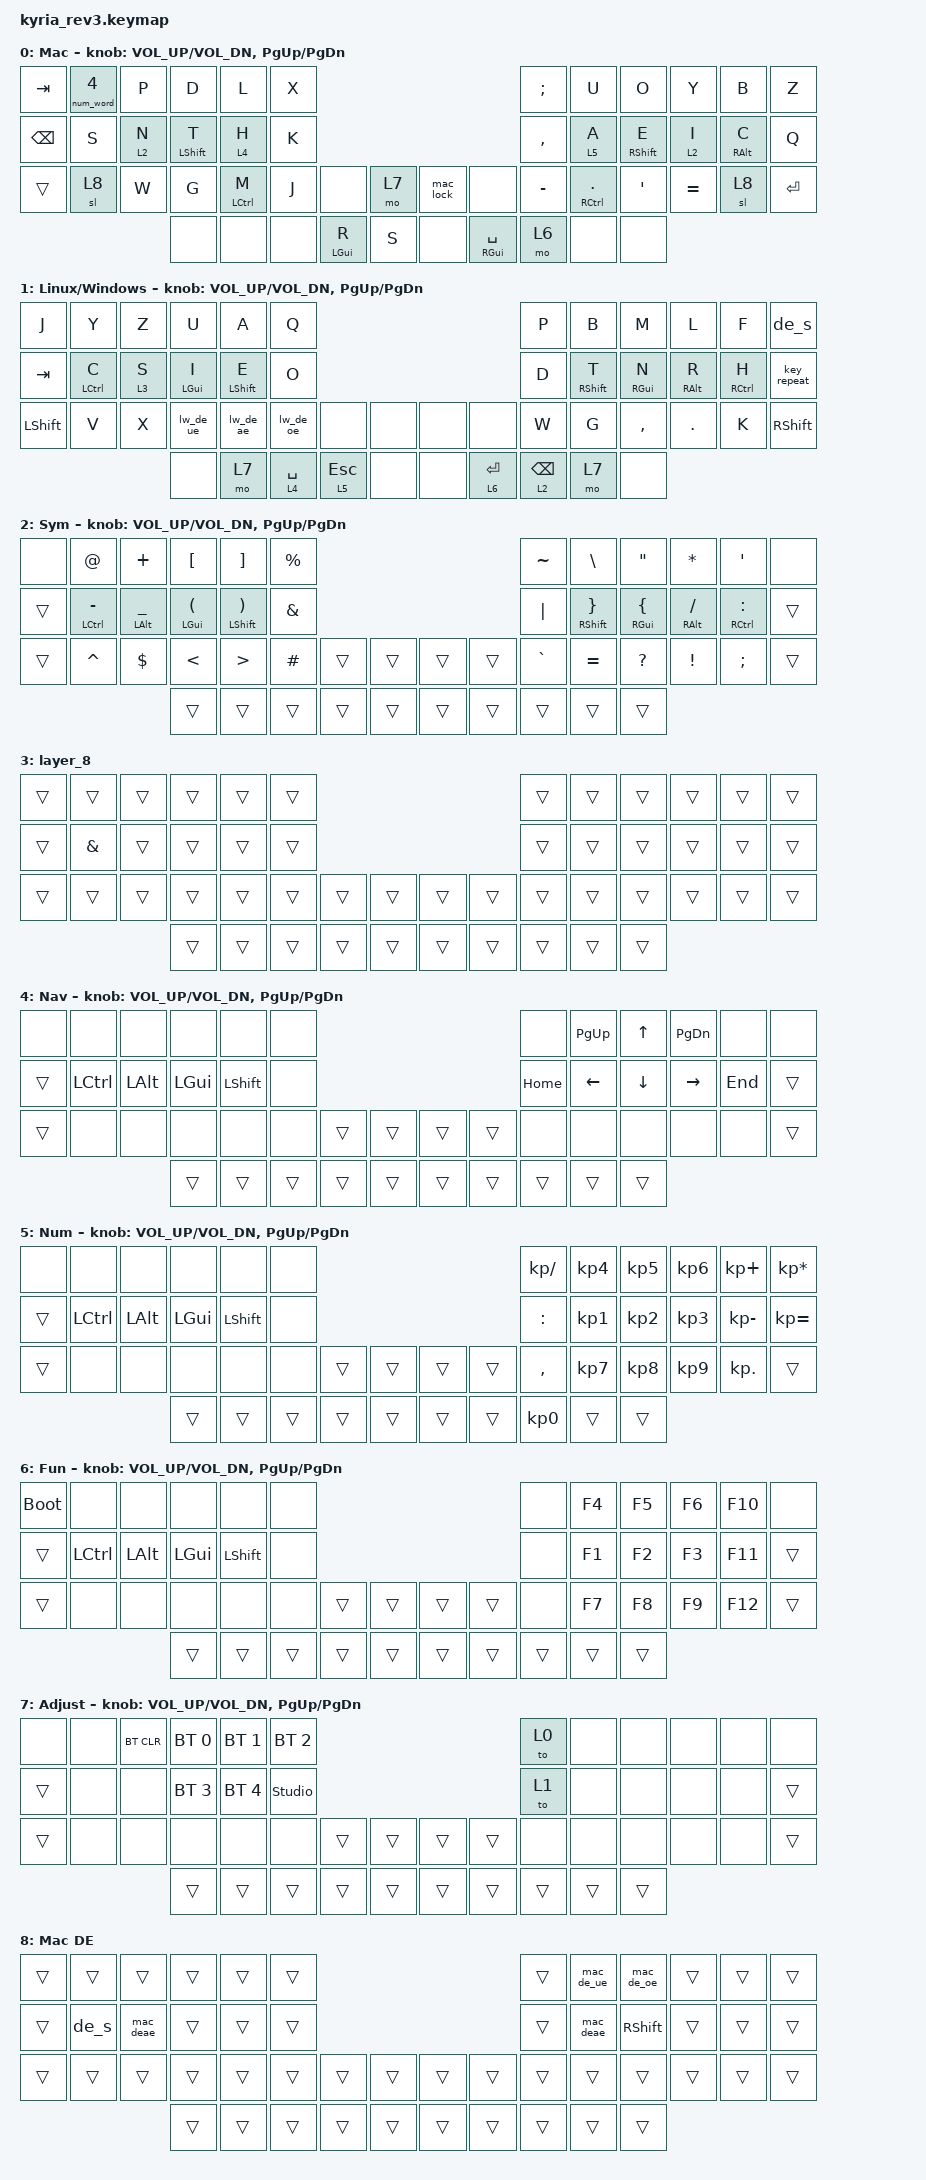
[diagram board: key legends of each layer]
#include <behaviors/num_word.dtsi>
#include <behaviors.dtsi>
#include <dt-bindings/zmk/bt.h>
#include <dt-bindings/zmk/keys.h>

/* Uncomment this block if using RGB
&led_strip {
    chain-length = <6>;
    // chain-length = <31>; // Uncomment if using both per-key and underglow LEDs
    // chain-length = <25>; // Uncomment if using only per-key LEDs.
};
 */


#define TAPHOLD_TP(NAME, TAP, HOLD) \
         NAME: NAME { \
            compatible = "zmk,behavior-hold-tap"; \
            flavor = "tap-preferred"; \
            #binding-cells = <2>; \
            tapping-term-ms = <TAPPING_TERM>; \
            quick-tap-ms = <QUICK_TAP_TERM>; \
            require-prior-idle-ms = <QUICK_TAP_TERM>; \
            bindings = <HOLD>, <TAP>; \
        };

/ {
    symbols {
        TAPHOLD_TP(th_lpar,         &mac_de_ae, &de_s)
    };
};

&mt { flavor = "tap-preferred"; };

&sl { ignore-modifiers; };

/ {
    macros {
   shifted: macro_shifted_kp {
      #binding-cells = <1>;
      label = "MACRO_SHIFTED_KP";
      compatible = "zmk,behavior-macro-one-param";
      bindings =
        <&macro_press &kp LSHFT>,
        <&macro_param_1to1 &macro_tap &kp MACRO_PLACEHOLDER>,
        <&macro_release &kp LSHFT>;
    };



        mac_de_ae: de_ae {
            compatible = "zmk,behavior-macro";
            #binding-cells = <0>;
            bindings = <&kp LA(U) &kp A>;
            label = "DE_AE";
        };

        mac_de_oe: de_oe {
            compatible = "zmk,behavior-macro";
            #binding-cells = <0>;
            bindings = <&kp LA(U) &kp O>;
            label = "DE_OE";
        };

        mac_de_ue: de_ue {
            compatible = "zmk,behavior-macro";
            #binding-cells = <0>;
            bindings = <&kp LA(U) &kp U>;
            label = "DE_UE";
        };

        de_s: de_s {
            compatible = "zmk,behavior-macro";
            #binding-cells = <0>;
            bindings = <&kp RA(S)>;
            label = "DE_S";
        };

        lw_de_ae: lw_de_ae {
            compatible = "zmk,behavior-macro";
            #binding-cells = <0>;
            bindings = <&kp RA(Q)>;
            label = "LW_DE_AE";
        };

        lw_de_oe: lw_de_oe {
            compatible = "zmk,behavior-macro";
            #binding-cells = <0>;
            bindings = <&kp RA(P)>;
            label = "LW_DE_OE";
        };

        lw_de_ue: lw_de_ue {
            compatible = "zmk,behavior-macro";
            #binding-cells = <0>;
            bindings = <&kp RA(Y)>;
            label = "LW_DE_UE";
        };

        mac_lock: mac_lock {
            compatible = "zmk,behavior-macro";
            #binding-cells = <0>;
            bindings = <&kp LC(LG(Q))>;
            label = "MAC_LOCK";
        };

        lw_lock: lw_lock {
            compatible = "zmk,behavior-macro";
            #binding-cells = <0>;
            bindings = <&kp LG(L)>;
            label = "LW_LOCK";
        };

        mac_de_ae_capital: mac_de_ae_shift {
            compatible = "zmk,behavior-macro";
            #binding-cells = <0>;
            bindings = <&kp LA(U) &kp LS(A)>;
            label = "MAC_DE_AE_SHIFT";
        };
    };

    behaviors {
as: autoshift {
        compatible = "zmk,behavior-hold-tap";
        label = "ZM_autoshift";
        #binding-cells = <2>;
        tapping-term-ms = <180>;
        quick-tap-ms = <0>;
        flavor = "balanced";
        bindings = <&kp &kp>;
    };

        mac_deae: mac_deae_cool {
            compatible = "zmk,behavior-mod-morph";
            label = "MAC_DEAE";
            bindings = <&mac_de_ae>, <&mac_de_ae_capital>;

            #binding-cells = <0>;
            mods = <(MOD_LSFT|MOD_RSFT)>;
        };

        new_behavior: new_behavior {
            compatible = "zmk,behavior-hold-tap";
            label = "NEW_BEHAVIOR";
            bindings = <&mt>, <&kp>;

            #binding-cells = <2>;
            retro-tap;
            tapping-term-ms = <100>;
        };

        lgui_r: lgui_r {
            compatible = "zmk,behavior-mod-morph";
            label = "LGUI_R";
            bindings = <&kp R>, <&kp LS(R)>;

            #binding-cells = <0>;
            mods = <(MOD_LGUI)>;
            keep-mods = <(MOD_LSFT)>;
        };

        coln_double: coln_double {
            compatible = "zmk,behavior-mod-morph";
            label = "COLN_DOUBLE";
            bindings = <&kp COLON>, <&kp UNDERSCORE>;

            #binding-cells = <0>;
            mods = <(MOD_LSFT|MOD_RCTL)>;
        };
    };

    combos {
        compatible = "zmk,combos";
         combo_esc {
            timeout-ms = <50>;
            key-positions = <19 20>;
            bindings = <&th_lpar>;
        };
    };

    keymap {
        compatible = "zmk,keymap";

        mac {
            bindings = <
&kp TAB   &num_word 4  &kp P    &kp D        &kp L        &kp X                                                     &kp SEMI   &kp U          &kp O        &kp Y      &kp B       &kp Z
&kp BSPC  &kp S      &lt 2 N  &mt LSHFT T  &lt 4 H      &kp K                                                     &kp COMMA  &lt 5 A        &mt RSHFT E  &lt 2 I    &mt RALT C  &kp Q
&trans    &sl 8        &kp W    &kp G        &mt LCTRL M  &kp J  &none       &mo 7       &mac_lock  &none           &kp MINUS  &mt RCTRL DOT  &kp SQT      &kp EQUAL  &sl 8       &kp RET
                                &none        &none        &none  &mt LGUI R  &kp S  &none      &mt RGUI SPACE  &mo 6      &none          &none
            >;

            sensor-bindings = <&inc_dec_kp C_VOL_UP C_VOL_DN &inc_dec_kp PG_UP PG_DN>;
            label = "Mac";
        };

        lw {
            bindings = <
&kp J      &kp Y        &kp Z    &kp U       &kp A        &kp Q                                              &kp P       &kp B        &kp M       &kp L       &kp F        &de_s
&kp TAB    &mt LCTRL C  &lt 3 S  &mt LGUI I  &mt LSHFT E  &kp O                                              &kp D       &mt RSHFT T  &mt RGUI N  &mt RALT R  &mt RCTRL H  &key_repeat
&kp LSHFT  &kp V        &kp X    &lw_de_ue   &lw_de_ae    &lw_de_oe    &none      &none  &none  &none        &kp W       &kp G        &kp COMMA   &kp DOT     &kp K        &kp RSHFT
                                 &none       &mo 7        &lt 4 SPACE  &lt 5 ESC  &none  &none  &lt 6 ENTER  &lt 2 BSPC  &mo 7        &none
            >;

            sensor-bindings = <&inc_dec_kp C_VOL_UP C_VOL_DN &inc_dec_kp PG_UP PG_DN>;
            label = "Linux/Windows";
        };

        sym {
            bindings = <
&none   &kp AT           &kp PLUS        &kp LBKT       &kp RBKT        &kp PRCNT                                  &kp TILDE  &kp BSLH        &kp DQT        &kp STAR       &kp SQT          &none
&trans  &mt LCTRL MINUS  &mt LALT UNDER  &mt LGUI LPAR  &mt LSHFT RPAR  &kp AMPS                                   &kp PIPE   &mt RSHFT RBRC  &mt RGUI LBRC  &mt RALT FSLH  &mt RCTRL COLON  &trans
&trans  &kp CARET        &kp DLLR        &kp LT         &kp GT          &kp HASH   &trans  &trans  &trans  &trans  &kp GRAVE  &kp EQUAL       &kp QMARK      &kp EXCL       &kp SEMI         &trans
                                         &trans         &trans          &trans     &trans  &trans  &trans  &trans  &trans     &trans          &trans
            >;

            sensor-bindings = <&inc_dec_kp C_VOL_UP C_VOL_DN &inc_dec_kp PG_UP PG_DN>;
            label = "Sym";
        };

        layer_8 {
            bindings = <
&trans  &trans         &trans  &trans  &trans  &trans                                  &trans  &trans  &trans  &trans  &trans  &trans
&trans  &kp AMPERSAND  &trans  &trans  &trans  &trans                                  &trans  &trans  &trans  &trans  &trans  &trans
&trans  &trans         &trans  &trans  &trans  &trans  &trans  &trans  &trans  &trans  &trans  &trans  &trans  &trans  &trans  &trans
                               &trans  &trans  &trans  &trans  &trans  &trans  &trans  &trans  &trans  &trans
            >;
        };

        nav {
            bindings = <
&none   &none      &none     &none     &none      &none                                   &none     &kp PG_UP  &kp UP    &kp PG_DN  &none    &none
&trans  &kp LCTRL  &kp LALT  &kp LGUI  &kp LSHFT  &none                                   &kp HOME  &kp LEFT   &kp DOWN  &kp RIGHT  &kp END  &trans
&trans  &none      &none     &none     &none      &none   &trans  &trans  &trans  &trans  &none     &none      &none     &none      &none    &trans
                             &trans    &trans     &trans  &trans  &trans  &trans  &trans  &trans    &trans     &trans
            >;

            sensor-bindings = <&inc_dec_kp C_VOL_UP C_VOL_DN &inc_dec_kp PG_UP PG_DN>;
            label = "Nav";
        };

        num {
            bindings = <
&none   &none      &none     &none     &none      &none                                   &kp KP_DIVIDE  &kp KP_N4  &kp KP_N5  &kp KP_N6  &kp KP_PLUS      &kp KP_MULTIPLY
&trans  &kp LCTRL  &kp LALT  &kp LGUI  &kp LSHFT  &none                                   &kp COLON      &kp KP_N1  &kp KP_N2  &kp KP_N3  &kp KP_SUBTRACT  &kp KP_EQUAL
&trans  &none      &none     &none     &none      &none   &trans  &trans  &trans  &trans  &kp COMMA      &kp KP_N7  &kp KP_N8  &kp KP_N9  &kp KP_DOT       &trans
                             &trans    &trans     &trans  &trans  &trans  &trans  &trans  &kp KP_N0      &trans     &trans
            >;

            sensor-bindings = <&inc_dec_kp C_VOL_UP C_VOL_DN &inc_dec_kp PG_UP PG_DN>;
            label = "Num";
        };

        fun {
            bindings = <
&bootloader  &none      &none     &none     &none      &none                                   &none   &kp F4  &kp F5  &kp F6  &kp F10  &none
&trans       &kp LCTRL  &kp LALT  &kp LGUI  &kp LSHFT  &none                                   &none   &kp F1  &kp F2  &kp F3  &kp F11  &trans
&trans       &none      &none     &none     &none      &none   &trans  &trans  &trans  &trans  &none   &kp F7  &kp F8  &kp F9  &kp F12  &trans
                                  &trans    &trans     &trans  &trans  &trans  &trans  &trans  &trans  &trans  &trans
            >;

            sensor-bindings = <&inc_dec_kp C_VOL_UP C_VOL_DN &inc_dec_kp PG_UP PG_DN>;
            label = "Fun";
        };

        adjust {
            bindings = <
&none   &none  &bt BT_CLR  &bt BT_SEL 0  &bt BT_SEL 1  &bt BT_SEL 2                                    &to 0   &none   &none   &none  &none  &none
&trans  &none  &none       &bt BT_SEL 3  &bt BT_SEL 4  &studio_unlock                                  &to 1   &none   &none   &none  &none  &trans
&trans  &none  &none       &none         &none         &none           &trans  &trans  &trans  &trans  &none   &none   &none   &none  &none  &trans
                           &trans        &trans        &trans          &trans  &trans  &trans  &trans  &trans  &trans  &trans
            >;

            sensor-bindings = <&inc_dec_kp C_VOL_UP C_VOL_DN &inc_dec_kp PG_UP PG_DN>;
            label = "Adjust";
        };

        mac_de {
            bindings = <
&trans  &trans  &trans     &trans  &trans  &trans                                  &trans  &mac_de_ue  &mac_de_oe  &trans  &trans  &trans
&trans  &de_s   &mac_deae  &trans  &trans  &trans                                  &trans  &mac_deae   &kp RSHFT   &trans  &trans  &trans
&trans  &trans  &trans     &trans  &trans  &trans  &trans  &trans  &trans  &trans  &trans  &trans      &trans      &trans  &trans  &trans
                           &trans  &trans  &trans  &trans  &trans  &trans  &trans  &trans  &trans      &trans
            >;

            label = "Mac DE";
        };
    };
};
